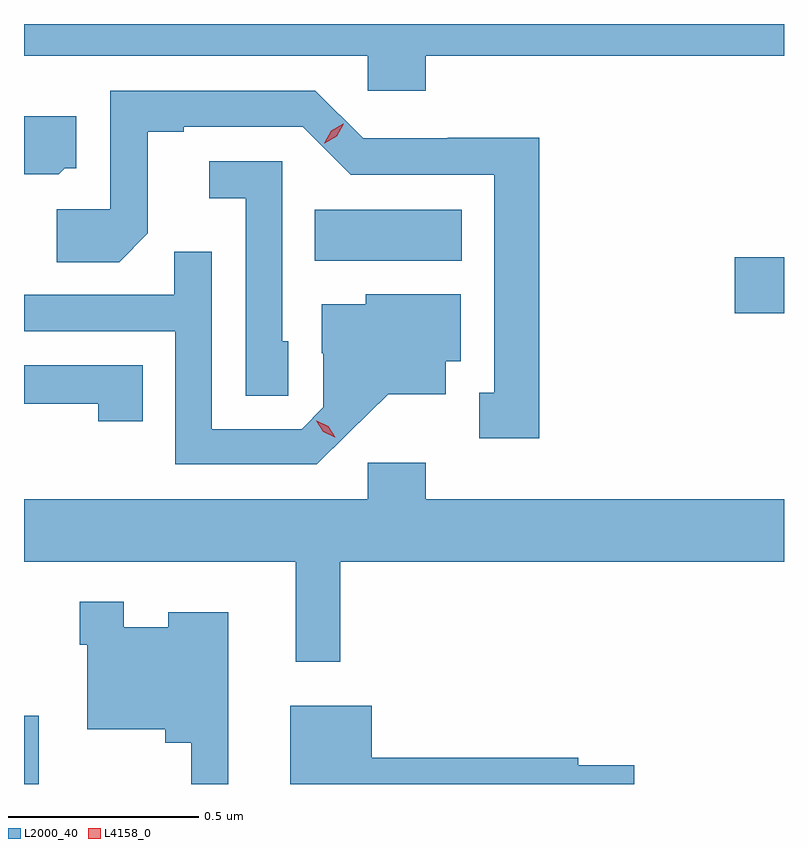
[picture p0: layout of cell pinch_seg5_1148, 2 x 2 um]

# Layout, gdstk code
import gdstk
lib = gdstk.Library(unit=1e-6, precision=1e-09)
def R(c, l, rs):  # rectangles x0, y0, x1, y1
    for r in rs: c.add(gdstk.rectangle(r[:2], r[2:], *l))
def P(c, l, *ps):  # polygons
    for p in ps: c.add(gdstk.Polygon(p, *l))
L2000_40 = (2000, 40)
L4158_0 = (4158, 0)

pinch_seg5_1148 = lib.new_cell('pinch_seg5_1148')
R(pinch_seg5_1148, L2000_40, [(795.277,844.187,795.316,844.366), (797.148,845.426,797.277,845.573), (796.042,845.564,796.429,845.698)])
P(pinch_seg5_1148, L2000_40, [(796.334,846.104),(797.277,846.104),(797.277,846.187),(795.277,846.187),(795.277,846.104),(796.182,846.104),(796.182,846.011),(796.334,846.011)],
  [(796.633,845.888),(796.392,845.888),(796.392,845.886),(796.17,845.886),(796.044,846.012),(795.504,846.012),(795.504,845.7),(795.363,845.7),(795.363,845.56),(795.527,845.56),(795.603,845.636),(795.603,845.904),(795.697,845.904),(795.697,845.916),(796.011,845.916),(796.137,845.79),(796.514,845.79),(796.514,845.217),(796.475,845.217),(796.475,845.097),(796.633,845.097)],
  [(795.384,845.808),(795.415,845.808),(795.415,845.944),(795.277,845.944),(795.277,845.792),(795.368,845.792)],
  [(795.972,845.352),(795.957,845.352),(795.957,845.826),(795.765,845.826),(795.765,845.729),(795.861,845.729),(795.861,845.209),(795.972,845.209)],
  [(796.132,845.111),(796.235,845.213),(796.387,845.213),(796.387,845.3),(796.426,845.3),(796.426,845.476),(796.176,845.476),(796.176,845.449),(796.061,845.449),(796.061,845.32),(796.065,845.32),(796.065,845.178),(796.008,845.121),(795.771,845.121),(795.771,845.588),(795.673,845.588),(795.673,845.475),(795.277,845.475),(795.277,845.379),(795.675,845.379),(795.675,845.028),(796.048,845.028)],
  [(795.59,845.289),(795.277,845.289),(795.277,845.188),(795.472,845.188),(795.472,845.142),(795.59,845.142)],
  [(795.277,844.772),(795.992,844.772),(795.992,844.509),(796.109,844.509),(796.109,844.772),(797.277,844.772),(797.277,844.936),(796.334,844.936),(796.334,845.032),(796.182,845.032),(796.182,844.936),(795.277,844.936)],
  [(795.814,844.639),(795.656,844.639),(795.656,844.6),(795.54,844.6),(795.54,844.666),(795.424,844.666),(795.424,844.553),(795.444,844.553),(795.444,844.331),(795.649,844.331),(795.649,844.295),(795.717,844.295),(795.717,844.187),(795.814,844.187)],
  [(796.883,844.236),(796.736,844.236),(796.736,844.256),(796.192,844.256),(796.192,844.393),(795.977,844.393),(795.977,844.187),(796.883,844.187)])
P(pinch_seg5_1148, L4158_0, [(796.067,845.873),(796.067,845.873),(796.085,845.906),(796.117,845.924),(796.118,845.924),(796.118,845.924),(796.1,845.892),(796.068,845.873)],
  [(796.095,845.099),(796.064,845.114),(796.046,845.143),(796.046,845.143),(796.047,845.143),(796.078,845.128),(796.096,845.099),(796.096,845.099)])

lib.write_gds('pinch_seg5_1148.gds')
